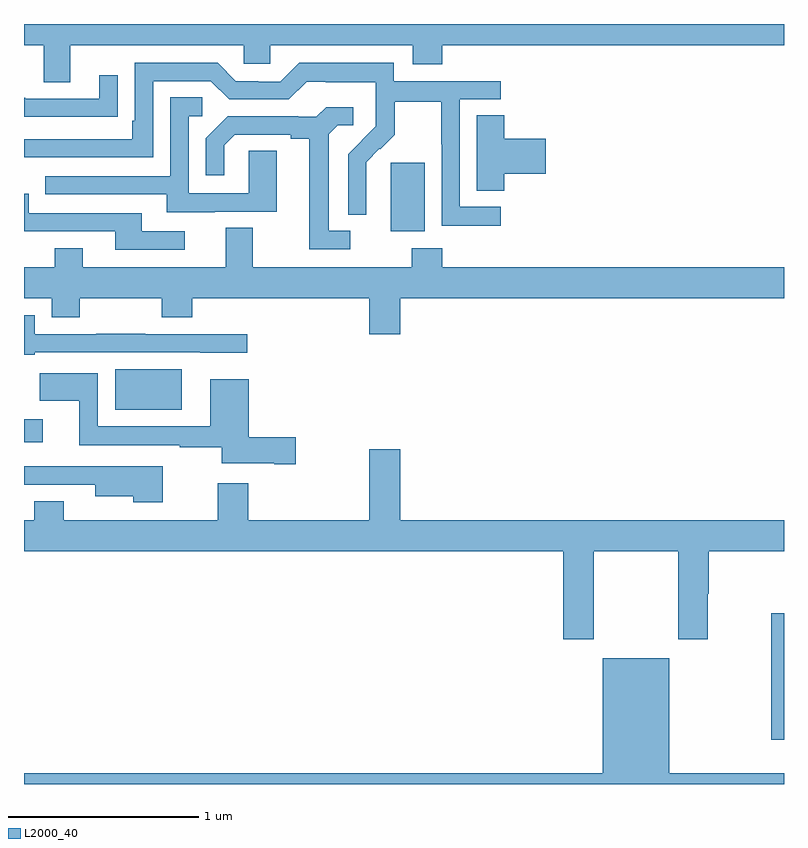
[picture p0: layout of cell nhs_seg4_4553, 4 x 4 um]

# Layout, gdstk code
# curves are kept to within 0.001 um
import gdstk
lib = gdstk.Library(unit=1e-6, precision=1e-09)
def R(c, l, rs):  # rectangles x0, y0, x1, y1
    for r in rs: c.add(gdstk.rectangle(r[:2], r[2:], *l))
def P(c, l, *ps):  # polygons
    for p in ps: c.add(gdstk.Polygon(p, *l))
L2000_40 = (2000, 40)

nhs_seg4_4553 = lib.new_cell('nhs_seg4_4553')
R(nhs_seg4_4553, L2000_40, [(358.934,825.132,359,825.799), (355,826.7,355.099,826.821), (355.481,826.871,355.831,827.083), (356.93,827.81,357.109,828.171)])
P(nhs_seg4_4553, L2000_40, [(355,828.788),(355.103,828.788),(355.103,828.594),(355.243,828.594),(355.243,828.788),(356.157,828.788),(356.157,828.69),(356.295,828.69),(356.295,828.788),(357.047,828.788),(357.047,828.689),(357.2,828.689),(357.2,828.788),(359,828.788),(359,828.9),(355,828.9)],
  [(357.508,827.937),(357.294,827.937),(357.294,828.504),(357.508,828.504),(357.508,828.6),(356.946,828.6),(356.946,828.697),(356.449,828.697),(356.349,828.597),(356.234,828.597),(356.234,828.6),(356.115,828.6),(356.019,828.696),(355.584,828.696),(355.584,828.391),(355.571,828.391),(355.571,828.294),(355,828.294),(355,828.198),(355.68,828.198),(355.68,828.6),(355.983,828.6),(356.079,828.504),(356.394,828.504),(356.487,828.597),(356.587,828.597),(356.587,828.593),(356.85,828.593),(356.85,828.459),(356.852,828.459),(356.852,828.362),(356.706,828.214),(356.706,827.896),(356.802,827.896),(356.801,828.173),(356.871,828.243),(356.874,828.24),(356.951,828.317),(356.951,828.492),(357.196,828.492),(357.196,828.268),(357.198,828.268),(357.198,827.839),(357.508,827.839)],
  [(355.391,828.412),(355.493,828.412),(355.493,828.631),(355.397,828.631),(355.397,828.507),(355.007,828.507),(355.007,828.512),(355,828.512),(355,828.411),(355.391,828.411)],
  [(356.005,827.913),(356.329,827.913),(356.329,828.233),(356.184,828.233),(356.184,828.009),(355.866,828.009),(355.866,828.414),(355.939,828.414),(355.939,828.515),(355.77,828.515),(355.77,828.099),(355.111,828.099),(355.111,828.003),(355.751,828.003),(355.751,827.909),(356.005,827.909)],
  [(356.716,827.811),(356.605,827.811),(356.605,828.319),(356.652,828.366),(356.734,828.366),(356.734,828.463),(356.59,828.463),(356.538,828.411),(356.444,828.411),(356.444,828.414),(356.072,828.414),(355.956,828.298),(355.956,828.105),(356.053,828.105),(356.053,828.261),(356.11,828.318),(356.405,828.318),(356.405,828.296),(356.501,828.296),(356.501,827.715),(356.716,827.715)],
  [(357.527,828.113),(357.745,828.113),(357.745,828.296),(357.527,828.296),(357.527,828.419),(357.383,828.419),(357.383,828.022),(357.527,828.022)],
  [(355.846,827.808),(355.621,827.808),(355.621,827.904),(355.026,827.904),(355.026,828.007),(355,828.007),(355,827.808),(355.481,827.808),(355.481,827.712),(355.846,827.712)],
  [(356.98,827.456),(359,827.456),(359,827.62),(357.2,827.62),(357.2,827.719),(357.04,827.719),(357.04,827.62),(356.203,827.62),(356.203,827.828),(356.063,827.828),(356.063,827.62),(355.309,827.62),(355.309,827.719),(355.162,827.719),(355.162,827.62),(355,827.62),(355,827.456),(355.145,827.456),(355.145,827.357),(355.293,827.357),(355.293,827.456),(355.726,827.456),(355.726,827.357),(355.886,827.357),(355.886,827.456),(356.816,827.456),(356.816,827.268),(356.98,827.268)],
  [(355.057,827.172),(355.927,827.172),(355.927,827.171),(356.176,827.171),(356.176,827.268),(355.637,827.268),(355.637,827.27),(355.381,827.27),(355.381,827.268),(355.057,827.268),(355.057,827.367),(355,827.367),(355,827.16),(355.057,827.16)],
  [(356.431,826.724),(356.182,826.724),(356.182,827.029),(355.979,827.029),(355.979,826.783),(355.389,826.783),(355.389,827.062),(355.083,827.062),(355.083,826.916),(355.292,826.916),(355.292,826.682),(355.819,826.682),(355.819,826.672),(356.042,826.672),(356.042,826.589),(356.318,826.589),(356.318,826.582),(356.431,826.582)],
  [(355.731,826.573),(355.48,826.573),(355.48,826.572),(355,826.572),(355,826.476),(355.376,826.476),(355.376,826.415),(355.576,826.415),(355.576,826.382),(355.731,826.382)],
  [(356.816,826.663),(356.816,826.288),(356.18,826.288),(356.18,826.483),(356.02,826.483),(356.02,826.288),(355.209,826.288),(355.209,826.387),(355.054,826.387),(355.054,826.288),(355,826.288),(355,826.124),(357.839,826.124),(357.839,825.663),(357.999,825.663),(357.999,826.124),(358.444,826.124),(358.444,825.663),(358.599,825.663),(358.599,825.902),(358.604,825.902),(358.604,826.124),(359,826.124),(359,826.288),(356.98,826.288),(356.98,826.663)],
  [(359,824.956),(358.396,824.956),(358.396,825.562),(358.046,825.562),(358.046,824.956),(355,824.956),(355,824.9),(359,824.9)])

lib.write_gds('nhs_seg4_4553.gds')
